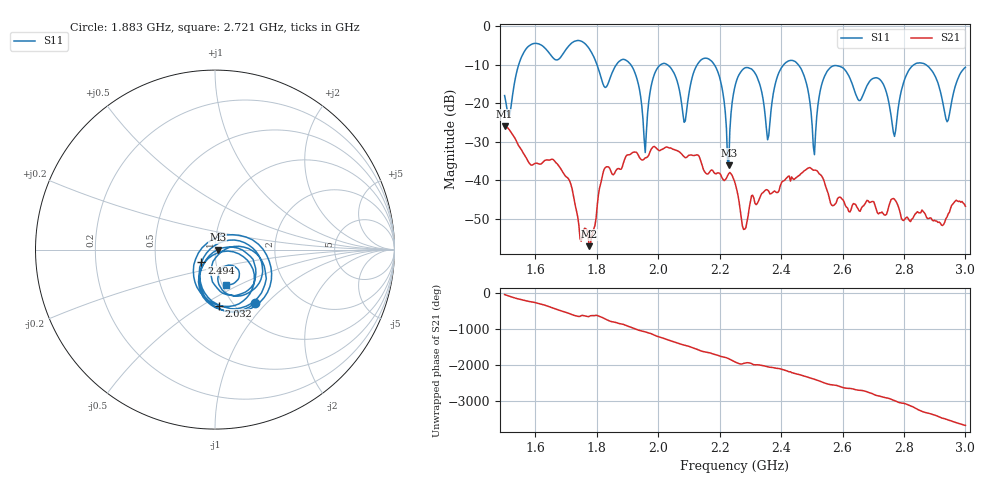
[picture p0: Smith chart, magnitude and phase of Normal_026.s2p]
# HZ S RI R 50
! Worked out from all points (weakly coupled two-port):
!   404 points, 1.5 GHz to 3 GHz, reference 50 ohm
!   highest |S21| = -25.96 dB at 1.5 GHz (marker M1); lowest = -57.0 dB at 1.775 GHz (marker M2)
!   lowest |S11| = -36.0 dB at 2.23 GHz (marker M3), VSWR 1.03, Z = 51.6 - j0.0211 ohm
!   |S11| at or under -10 dB: 2.183 GHz to 2.408 GHz (225 MHz wide, 9.8 % of centre); 2.457 GHz to 2.832 GHz (375.1 MHz wide, 14.2 % of centre); 2.872 GHz to end of sweep (the widest 3 of 7)
!   S12 and S22 are empty: the file has one direction only
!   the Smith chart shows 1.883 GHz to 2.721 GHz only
!   S11 on the Smith chart (normalised r, x): 1.883 GHz: 1.24, -0.86; 2.032 GHz: 0.86, -0.59; 2.494 GHz: 0.85, -0.12; 2.721 GHz: 1.04, -0.43
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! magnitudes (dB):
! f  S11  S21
! 1.5 GHz  -18.0  -26.0
! 1.753 GHz  -4.0  -54.2
! 1.775 GHz  -5.8  -57.0
! 1.883 GHz  -8.6  -36.4
! 1.958 GHz  -32.7  -34.1
! 2.002 GHz  -10.3  -32.2
! 2.032 GHz  -10.1  -31.5
! 2.084 GHz  -24.9  -33.8
! 2.177 GHz  -9.4  -37.4
! 2.23 GHz  -36.0  -38.2
! 2.252 GHz  -15.0  -41.1
! 2.282 GHz  -10.8  -52.6
! 2.356 GHz  -29.4  -42.5
! 2.419 GHz  -9.2  -39.2
! 2.494 GHz  -19.7  -36.6
! 2.501 GHz  -25.8  -37.1
! 2.565 GHz  -10.5  -46.4
! 2.721 GHz  -13.7  -48.4
! 2.751 GHz  -19.7  -46.7
! 2.859 GHz  -9.5  -47.7
! 2.94 GHz  -24.8  -49.4
! 3 GHz  -10.6  -46.7
